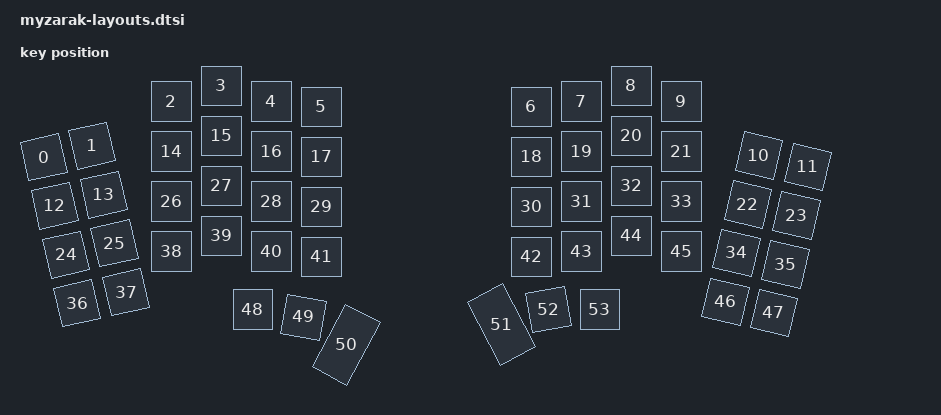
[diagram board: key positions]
// See https://zmk.dev/docs/development/hardware-integration/physical-layouts
// for how to configure this.

#include <physical_layouts.dtsi>

/ {
    default_layout: default_layout {
        compatible = "zmk,physical-layout";
        display-name = "Default Layout";
        transform = <&default_transform>;
        kscan = <&kscan>;

        // Edit this to define the positions and sizes of the keys, or remove it
        // if your keyboard will not support ZMK Studio.
        // https://zmk.dev/docs/development/hardware-integration/physical-layouts#optional-keys-property
        // Physical layout computed from the actual Ergogen source config,
        // cross-checked against the wiring nets. Order matches the transform's
        // map (54 keys: 4 main rows x 12 cols, then the 6-key thumb row).
        keys  //             w   h    x    y    rot   rx   ry
            = <&key_physical_attrs  87  87     0   154 (-1300)     0   154>  // matrix_outer_num
            , <&key_physical_attrs  87  87    97   131 (-1300)    97   131>  // matrix_pinky_num
            , <&key_physical_attrs  87  87   264    31      0   264    31>  // matrix_ring_num
            , <&key_physical_attrs  87  87   364     0      0   364     0>  // matrix_middle_num
            , <&key_physical_attrs  87  87   464    31      0   464    31>  // matrix_index_num
            , <&key_physical_attrs  87  87   564    42      0   564    42>  // matrix_inner_num
            , <&key_physical_attrs  87  87   984    42      0   984    42>  // mirror_matrix_inner_num
            , <&key_physical_attrs  87  87  1084    31      0  1084    31>  // mirror_matrix_index_num
            , <&key_physical_attrs  87  87  1184     0      0  1184     0>  // mirror_matrix_middle_num
            , <&key_physical_attrs  87  87  1284    31      0  1284    31>  // mirror_matrix_ring_num
            , <&key_physical_attrs  87  87  1450   131   1300  1450   131>  // mirror_matrix_pinky_num
            , <&key_physical_attrs  87  87  1548   154   1300  1548   154>  // mirror_matrix_outer_num
            , <&key_physical_attrs  87  87    22   251 (-1300)    22   251>  // matrix_outer_top
            , <&key_physical_attrs  87  87   120   229 (-1300)   120   229>  // matrix_pinky_top
            , <&key_physical_attrs  87  87   264   131      0   264   131>  // matrix_ring_top
            , <&key_physical_attrs  87  87   364   100      0   364   100>  // matrix_middle_top
            , <&key_physical_attrs  87  87   464   131      0   464   131>  // matrix_index_top
            , <&key_physical_attrs  87  87   564   142      0   564   142>  // matrix_inner_top
            , <&key_physical_attrs  87  87   984   142      0   984   142>  // mirror_matrix_inner_top
            , <&key_physical_attrs  87  87  1084   131      0  1084   131>  // mirror_matrix_index_top
            , <&key_physical_attrs  87  87  1184   100      0  1184   100>  // mirror_matrix_middle_top
            , <&key_physical_attrs  87  87  1284   131      0  1284   131>  // mirror_matrix_ring_top
            , <&key_physical_attrs  87  87  1428   229   1300  1428   229>  // mirror_matrix_pinky_top
            , <&key_physical_attrs  87  87  1525   251   1300  1525   251>  // mirror_matrix_outer_top
            , <&key_physical_attrs  87  87    45   349 (-1300)    45   349>  // matrix_outer_home
            , <&key_physical_attrs  87  87   142   326 (-1300)   142   326>  // matrix_pinky_home
            , <&key_physical_attrs  87  87   264   231      0   264   231>  // matrix_ring_home
            , <&key_physical_attrs  87  87   364   200      0   364   200>  // matrix_middle_home
            , <&key_physical_attrs  87  87   464   231      0   464   231>  // matrix_index_home
            , <&key_physical_attrs  87  87   564   242      0   564   242>  // matrix_inner_home
            , <&key_physical_attrs  87  87   984   242      0   984   242>  // mirror_matrix_inner_home
            , <&key_physical_attrs  87  87  1084   231      0  1084   231>  // mirror_matrix_index_home
            , <&key_physical_attrs  87  87  1184   200      0  1184   200>  // mirror_matrix_middle_home
            , <&key_physical_attrs  87  87  1284   231      0  1284   231>  // mirror_matrix_ring_home
            , <&key_physical_attrs  87  87  1405   326   1300  1405   326>  // mirror_matrix_pinky_home
            , <&key_physical_attrs  87  87  1503   349   1300  1503   349>  // mirror_matrix_outer_home
            , <&key_physical_attrs  87  87    67   446 (-1300)    67   446>  // matrix_outer_bottom
            , <&key_physical_attrs  87  87   165   424 (-1300)   165   424>  // matrix_pinky_bottom
            , <&key_physical_attrs  87  87   264   331      0   264   331>  // matrix_ring_bottom
            , <&key_physical_attrs  87  87   364   300      0   364   300>  // matrix_middle_bottom
            , <&key_physical_attrs  87  87   464   331      0   464   331>  // matrix_index_bottom
            , <&key_physical_attrs  87  87   564   342      0   564   342>  // matrix_inner_bottom
            , <&key_physical_attrs  87  87   984   342      0   984   342>  // mirror_matrix_inner_bottom
            , <&key_physical_attrs  87  87  1084   331      0  1084   331>  // mirror_matrix_index_bottom
            , <&key_physical_attrs  87  87  1184   300      0  1184   300>  // mirror_matrix_middle_bottom
            , <&key_physical_attrs  87  87  1284   331      0  1284   331>  // mirror_matrix_ring_bottom
            , <&key_physical_attrs  87  87  1383   424   1300  1383   424>  // mirror_matrix_pinky_bottom
            , <&key_physical_attrs  87  87  1480   446   1300  1480   446>  // mirror_matrix_outer_bottom
            , <&key_physical_attrs  87  87   427   447      0   427   447>  // thumbfan_inner_thumb
            , <&key_physical_attrs  87  87   537   456   1000   537   456>  // thumbfan_near_thumb
            , <&key_physical_attrs  87 150   654   475   2800   654   475>  // thumbfan_home_thumb
            , <&key_physical_attrs  87 150   894   475 (-2800)   894   475>  // mirror_thumbfan_home_thumb
            , <&key_physical_attrs  87  87  1011   456 (-1000)  1011   456>  // mirror_thumbfan_near_thumb
            , <&key_physical_attrs  87  87  1121   447      0  1121   447>  // mirror_thumbfan_inner_thumb
            ;
    };
};
